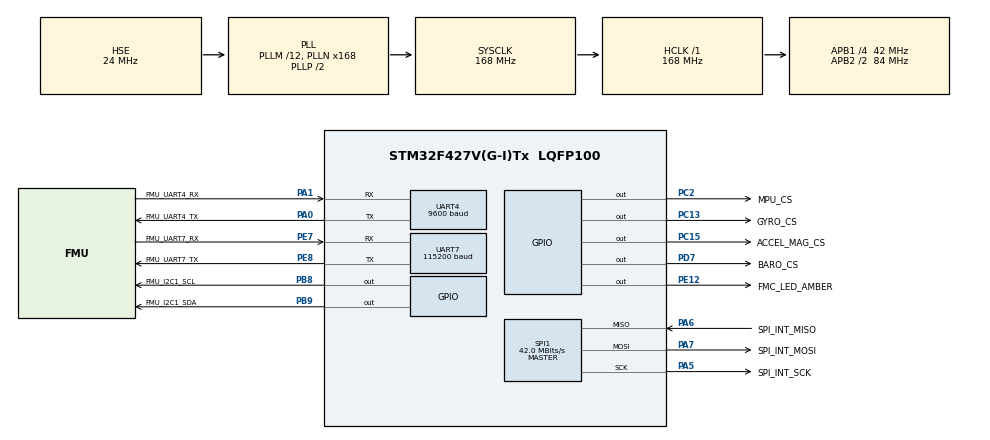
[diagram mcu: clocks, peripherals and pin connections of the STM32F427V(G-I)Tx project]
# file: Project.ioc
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Dma.Request0=UART4_RX
Dma.UART4_RX.0.Direction=DMA_PERIPH_TO_MEMORY
Dma.UART4_RX.0.FIFOMode=DMA_FIFOMODE_DISABLE
Dma.UART4_RX.0.Instance=DMA1_Stream2
Dma.UART4_RX.0.MemDataAlignment=DMA_MDATAALIGN_BYTE
Dma.UART4_RX.0.MemInc=DMA_MINC_ENABLE
Dma.UART4_RX.0.Mode=DMA_CIRCULAR
Dma.UART4_RX.0.PeriphDataAlignment=DMA_PDATAALIGN_BYTE
Dma.UART4_RX.0.PeriphInc=DMA_PINC_DISABLE
Dma.UART4_RX.0.Priority=DMA_PRIORITY_MEDIUM
Mcu.Family=STM32F4
Mcu.Name=STM32F427V(G-I)Tx
Mcu.Package=LQFP100
NVIC.DMA1_Stream2_IRQn=true\:0\:0\:false\:true\:true\:1\:false\:true
NVIC.PriorityGroup=NVIC_PRIORITYGROUP_2
NVIC.TIM6_DAC_IRQn=true\:2\:1\:true\:true\:true\:3\:true\:true
NVIC.UART4_IRQn=true\:0\:0\:false\:true\:true\:2\:true\:true
PA0/WKUP.GPIO_Label=FMU_UART4_TX
PA0/WKUP.Mode=Asynchronous
PA0/WKUP.Signal=UART4_TX
PA1.GPIO_Label=FMU_UART4_RX
PA1.Mode=Asynchronous
PA1.Signal=UART4_RX
PA13.Mode=Trace_Asynchronous_SW
PA13.Signal=SYS_JTMS-SWDIO
PA14.Mode=Trace_Asynchronous_SW
PA14.Signal=SYS_JTCK-SWCLK
PA5.GPIO_Label=SPI_INT_SCK
PA5.Mode=Full_Duplex_Master
PA5.Signal=SPI1_SCK
PA6.GPIO_Label=SPI_INT_MISO
PA6.Mode=Full_Duplex_Master
PA6.Signal=SPI1_MISO
PA7.GPIO_Label=SPI_INT_MOSI
PA7.Mode=Full_Duplex_Master
PA7.Signal=SPI1_MOSI
PB3.Mode=Trace_Asynchronous_SW
PB3.Signal=SYS_JTDO-SWO
PB8.GPIO_Label=FMU_I2C1_SCL
PB8.PinState=GPIO_PIN_SET
PB8.Signal=GPIO_Output
PB9.GPIO_Label=FMU_I2C1_SDA
PB9.PinState=GPIO_PIN_SET
PB9.Signal=GPIO_Output
PC13.GPIO_Label=GYRO_CS
PC13.PinState=GPIO_PIN_SET
PC13.Signal=GPIO_Output
PC15/OSC32_OUT.GPIO_Label=ACCEL_MAG_CS
PC15/OSC32_OUT.PinState=GPIO_PIN_SET
PC15/OSC32_OUT.Signal=GPIO_Output
PC2.GPIO_Label=MPU_CS
PC2.PinState=GPIO_PIN_SET
PC2.Signal=GPIO_Output
PD7.GPIO_Label=BARO_CS
PD7.PinState=GPIO_PIN_SET
PD7.Signal=GPIO_Output
PE12.GPIO_Label=FMC_LED_AMBER
PE12.PinState=GPIO_PIN_SET
PE12.Signal=GPIO_Output
PE7.GPIO_Label=FMU_UART7_RX
PE7.Mode=Asynchronous
PE7.Signal=UART7_RX
PE8.GPIO_Label=FMU_UART7_TX
PE8.Mode=Asynchronous
PE8.Signal=UART7_TX
PH0/OSC_IN.Mode=HSE-External-Oscillator
PH0/OSC_IN.Signal=RCC_OSC_IN
PH1/OSC_OUT.Mode=HSE-External-Oscillator
PH1/OSC_OUT.Signal=RCC_OSC_OUT
ProjectManager.HeapSize=0x200
ProjectManager.StackSize=0x400
ProjectManager.TargetToolchain=MDK-ARM V5
RCC.48MHZClocksFreq_Value=84000000
RCC.AHBFreq_Value=168000000
RCC.APB1CLKDivider=RCC_HCLK_DIV4
RCC.APB1Freq_Value=42000000
RCC.APB1TimFreq_Value=84000000
RCC.APB2CLKDivider=RCC_HCLK_DIV2
RCC.APB2Freq_Value=84000000
RCC.APB2TimFreq_Value=168000000
RCC.CortexFreq_Value=168000000
RCC.HCLKFreq_Value=168000000
RCC.HSE_VALUE=24000000
RCC.HSI_VALUE=16000000
RCC.LSE_VALUE=32768
RCC.PLLM=12
RCC.PLLN=168
RCC.PLLSourceVirtual=RCC_PLLSOURCE_HSE
RCC.SYSCLKFreq_VALUE=168000000
RCC.SYSCLKSource=RCC_SYSCLKSOURCE_PLLCLK
RCC.VCOOutputFreq_Value=336000000
SPI1.CLKPhase=SPI_PHASE_2EDGE
SPI1.CLKPolarity=SPI_POLARITY_HIGH
SPI1.CalculateBaudRate=42.0 MBits/s
SPI1.Direction=SPI_DIRECTION_2LINES
SPI1.Mode=SPI_MODE_MASTER
SPI1.VirtualType=VM_MASTER
TIM6.Period=1999
TIM6.Prescaler=83
UART4.BaudRate=9600
UART4.VirtualMode=Asynchronous
UART7.BaudRate=115200
UART7.VirtualMode=Asynchronous
VP_TIM6_VS_ClockSourceINT.Mode=Enable_Timer
board=Project

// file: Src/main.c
/* USER CODE BEGIN Header */
/**
  ******************************************************************************
  * @file           : main.c
  * @brief          : Main program body
  ******************************************************************************
  * @attention
  *
  * <h2><center>&copy; Copyright (c) 2019 STMicroelectronics.
  * All rights reserved.</center></h2>
  *
  * This software component is licensed by ST under BSD 3-Clause license,
  * the "License"; You may not use this file except in compliance with the
  * License. You may obtain a copy of the License at:
  *                        opensource.org/licenses/BSD-3-Clause
  *
  ******************************************************************************
  */
/* USER CODE END Header */

#include "main.h"
#include "dma.h"
#include "spi.h"
#include "tim.h"
#include "usart.h"
#include "gpio.h"

/* USER CODE BEGIN Includes */
#include "md_include.h"
//#include "mavlink.h"
/* USER CODE END Includes */

/* USER CODE BEGIN PV */
/* Private variables ---------------------------------------------------------*/
__IO ITStatus Timer6UpdateReady = RESET;
/* USER CODE END PV */

void SystemClock_Config(void);
static void MX_NVIC_Init(void);
/* USER CODE BEGIN PFP */
/* Private function prototypes -----------------------------------------------*/

/* USER CODE END PFP */

/* USER CODE BEGIN 0 */

//printf重定向
#ifdef __GNUC__
  /* With GCC/RAISONANCE, small printf (option LD Linker->Libraries->Small printf
     set to 'Yes') calls __io_putchar() */
  #define PUTCHAR_PROTOTYPE int __io_putchar(int ch)
#else
  #define PUTCHAR_PROTOTYPE int fputc(int ch, FILE *f)
#endif /* __GNUC__ */

/* USER CODE END 0 */

int main(void)
{

  /* MCU Configuration--------------------------------------------------------*/

  /* Reset of all peripherals, Initializes the Flash interface and the Systick. */
  HAL_Init();

  /* Configure the system clock */
  SystemClock_Config();

  /* Initialize all configured peripherals */
  MX_GPIO_Init();
  MX_UART7_Init();
  MX_SPI1_Init();
  MX_TIM6_Init();
  MX_UART4_Init();
  MX_DMA_Init();

  /* Initialize interrupts */
  MX_NVIC_Init();
  /* USER CODE BEGIN 2 */
//	HAL_Delay(2000);
//	GPS_Init();
	MPU6000_Init();
	Baro_Init();
//	HMC5883_Init();
	HAL_TIM_Base_Start_IT(&htim6);
	HAL_Delay(100);
  /* USER CODE END 2 */

  /* Infinite loop */
  /* USER CODE BEGIN WHILE */
  while (1)
  {
		//定时器中断500HZ执行一次
		if(Timer6UpdateReady==SET)
		{
			Timer6UpdateReady=RESET;
			Loop_Read_MPU6000();	//6轴姿态传感器循环函数
			Loop_Read_Bar();			//气压传感器循环函数
//			Loop_Read_Mag(); 			//地磁传感器循环函数
//			mavlink_test();
		}
		Baro_Read_Pressure_Test();
		HAL_Delay(100);

//		Loop_GPS_Parse();				//GPS循环函数

    /* USER CODE END WHILE */

  }
}

void SystemClock_Config(void)
{
  RCC_OscInitTypeDef RCC_OscInitStruct = {0};
  RCC_ClkInitTypeDef RCC_ClkInitStruct = {0};

  /** Configure the main internal regulator output voltage
  */
  __HAL_RCC_PWR_CLK_ENABLE();
  __HAL_PWR_VOLTAGESCALING_CONFIG(PWR_REGULATOR_VOLTAGE_SCALE1);
  /** Initializes the CPU, AHB and APB busses clocks
  */
  RCC_OscInitStruct.OscillatorType = RCC_OSCILLATORTYPE_HSE;
  RCC_OscInitStruct.HSEState = RCC_HSE_ON;
  RCC_OscInitStruct.PLL.PLLState = RCC_PLL_ON;
  RCC_OscInitStruct.PLL.PLLSource = RCC_PLLSOURCE_HSE;
  RCC_OscInitStruct.PLL.PLLM = 12;
  RCC_OscInitStruct.PLL.PLLN = 168;
  RCC_OscInitStruct.PLL.PLLP = RCC_PLLP_DIV2;
  RCC_OscInitStruct.PLL.PLLQ = 4;
  if (HAL_RCC_OscConfig(&RCC_OscInitStruct) != HAL_OK)
  {
    Error_Handler();
  }
  /** Initializes the CPU, AHB and APB busses clocks
  */
  RCC_ClkInitStruct.ClockType = RCC_CLOCKTYPE_HCLK|RCC_CLOCKTYPE_SYSCLK
                              |RCC_CLOCKTYPE_PCLK1|RCC_CLOCKTYPE_PCLK2;
  RCC_ClkInitStruct.SYSCLKSource = RCC_SYSCLKSOURCE_PLLCLK;
  RCC_ClkInitStruct.AHBCLKDivider = RCC_SYSCLK_DIV1;
  RCC_ClkInitStruct.APB1CLKDivider = RCC_HCLK_DIV4;
  RCC_ClkInitStruct.APB2CLKDivider = RCC_HCLK_DIV2;

  if (HAL_RCC_ClockConfig(&RCC_ClkInitStruct, FLASH_LATENCY_5) != HAL_OK)
  {
    Error_Handler();
  }
}

/**
  * @brief NVIC Configuration.
  * @retval None
  */
static void MX_NVIC_Init(void)
{
  /* DMA1_Stream2_IRQn interrupt configuration */
  HAL_NVIC_SetPriority(DMA1_Stream2_IRQn, 0, 0);
  HAL_NVIC_EnableIRQ(DMA1_Stream2_IRQn);
  /* UART4_IRQn interrupt configuration */
  HAL_NVIC_SetPriority(UART4_IRQn, 0, 0);
  HAL_NVIC_EnableIRQ(UART4_IRQn);
  /* TIM6_DAC_IRQn interrupt configuration */
  HAL_NVIC_SetPriority(TIM6_DAC_IRQn, 2, 1);
  HAL_NVIC_EnableIRQ(TIM6_DAC_IRQn);
}

/* USER CODE BEGIN 4 */
PUTCHAR_PROTOTYPE
{
  /* Place your implementation of fputc here ??*/
  /* e.g. write a character to the EVAL_COM1 and Loop until the end of transmission */
  HAL_UART_Transmit(&huart7, (uint8_t *)&ch, 1, 0xFFFF);
  return ch;
}

/**************************函数声明***********************
*函数名称：HAL_TIM_PeriodElapsedCallback(TIM_HandleTypeDef *htim)
*输入参数：
*返回参数：
*功    能：定时器中断回调函数
*作    者：
*日    期：2019/11/11
*************************************************************/
void HAL_TIM_PeriodElapsedCallback(TIM_HandleTypeDef *htim)
{
	Timer6UpdateReady=SET;
}

/**************************函数声明***********************
*函数名称：HAL_UART_RxCpltCallback(UART_HandleTypeDef *UartHandle)
*输入参数：
*返回参数：
*功    能：串口中断回调函数
*作    者：
*日    期：2019/11/12
*************************************************************/
void HAL_UART_RxCpltCallback(UART_HandleTypeDef *UartHandle)
{
	/* Set transmission flag: trasfer complete*/
	if(UartHandle->Instance == UART4)
	{
		GPS_RX_InterruptHandler();
	}
}
/* USER CODE END 4 */

void Error_Handler(void)
{
  while(1)
  {
  }
}

/************************ (C) COPYRIGHT STMicroelectronics *****END OF FILE****/
